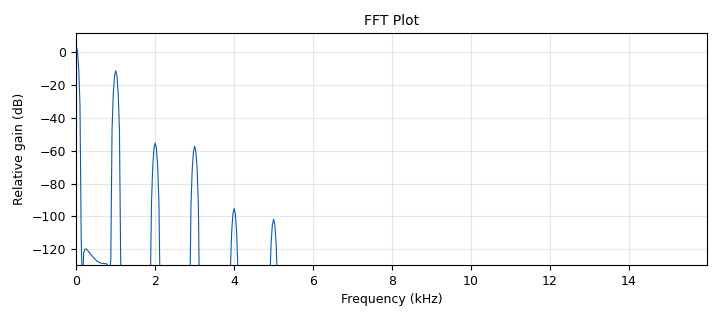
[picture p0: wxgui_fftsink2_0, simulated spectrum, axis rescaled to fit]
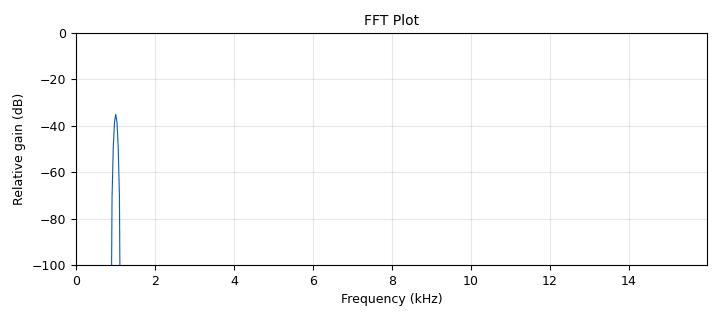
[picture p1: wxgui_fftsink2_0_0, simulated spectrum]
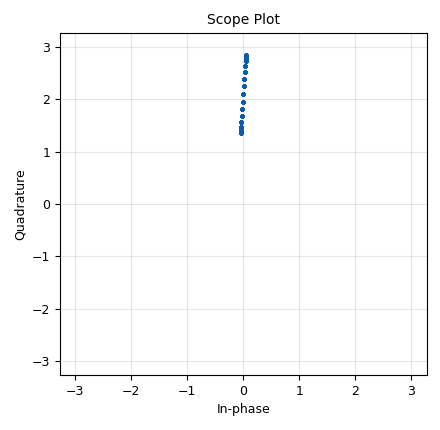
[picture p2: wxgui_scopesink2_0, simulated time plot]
<?xml version='1.0' encoding='utf-8'?>
<?grc format='1' created='3.7.9'?>
<flow_graph>
<block>
<key>options</key>
<param><key>id</key><value>top_block</value></param>
<param><key>category</key><value>Custom</value></param>
<param><key>generate_options</key><value>wx_gui</value></param>
</block>
<block>
<key>variable_slider</key>
<param><key>id</key><value>inp_amp</value></param>
<param><key>converver</key><value>float_converter</value></param>
<param><key>value</key><value>.05</value></param>
<param><key>label</key><value></value></param>
<param><key>max</key><value>1</value></param>
<param><key>min</key><value>0</value></param>
<param><key>num_steps</key><value>1000</value></param>
<param><key>style</key><value>wx.SL_HORIZONTAL</value></param>
</block>
<block>
<key>variable</key>
<param><key>id</key><value>samp_rate</value></param>
<param><key>value</key><value>32000</value></param>
</block>
<block>
<key>analog_sig_source_x</key>
<param><key>id</key><value>analog_sig_source_x_0</value></param>
<param><key>amp</key><value>inp_amp</value></param>
<param><key>freq</key><value>1000</value></param>
<param><key>offset</key><value>0</value></param>
<param><key>type</key><value>float</value></param>
<param><key>samp_rate</key><value>samp_rate</value></param>
<param><key>waveform</key><value>analog.GR_COS_WAVE</value></param>
</block>
<block>
<key>blocks_add_const_vxx</key>
<param><key>id</key><value>blocks_add_const_vxx_0</value></param>
<param><key>const</key><value>-1</value></param>
<param><key>type</key><value>float</value></param>
</block>
<block>
<key>blocks_add_const_vxx</key>
<param><key>id</key><value>blocks_add_const_vxx_1</value></param>
<param><key>const</key><value>0.9</value></param>
<param><key>type</key><value>float</value></param>
</block>
<block>
<key>blocks_divide_xx</key>
<param><key>id</key><value>blocks_divide_xx_0</value></param>
<param><key>type</key><value>float</value></param>
</block>
<block>
<key>blocks_multiply_const_vxx</key>
<param><key>id</key><value>blocks_multiply_const_vxx_0</value></param>
<param><key>const</key><value>10</value></param>
<param><key>type</key><value>float</value></param>
</block>
<block>
<key>blocks_multiply_const_vxx</key>
<param><key>id</key><value>blocks_multiply_const_vxx_1</value></param>
<param><key>const</key><value>5</value></param>
<param><key>type</key><value>float</value></param>
</block>
<block>
<key>blocks_throttle</key>
<param><key>id</key><value>blocks_throttle_0</value></param>
<param><key>samples_per_second</key><value>samp_rate</value></param>
<param><key>type</key><value>float</value></param>
</block>
<block>
<key>blocks_transcendental</key>
<param><key>id</key><value>blocks_transcendental_0</value></param>
<param><key>name</key><value>exp</value></param>
<param><key>type</key><value>float</value></param>
</block>
<block>
<key>notebook</key>
<param><key>id</key><value>notebook_0</value></param>
<param><key>labels</key><value>['inp_out', 'outp_fft','inp_fft']</value></param>
<param><key>style</key><value>wx.NB_TOP</value></param>
</block>
<block>
<key>wxgui_fftsink2</key>
<param><key>id</key><value>wxgui_fftsink2_0</value></param>
<param><key>avg_alpha</key><value>0</value></param>
<param><key>average</key><value>False</value></param>
<param><key>baseband_freq</key><value>0</value></param>
<param><key>fft_size</key><value>1024</value></param>
<param><key>freqvar</key><value>None</value></param>
<param><key>notebook</key><value>notebook_0,1</value></param>
<param><key>peak_hold</key><value>False</value></param>
<param><key>ref_level</key><value>0</value></param>
<param><key>ref_scale</key><value>2.0</value></param>
<param><key>fft_rate</key><value>15</value></param>
<param><key>samp_rate</key><value>samp_rate</value></param>
<param><key>title</key><value>FFT Plot</value></param>
<param><key>type</key><value>float</value></param>
<param><key>win</key><value>None</value></param>
<param><key>y_divs</key><value>10</value></param>
<param><key>y_per_div</key><value>10</value></param>
</block>
<block>
<key>wxgui_fftsink2</key>
<param><key>id</key><value>wxgui_fftsink2_0_0</value></param>
<param><key>avg_alpha</key><value>0</value></param>
<param><key>average</key><value>False</value></param>
<param><key>baseband_freq</key><value>0</value></param>
<param><key>fft_size</key><value>1024</value></param>
<param><key>freqvar</key><value>None</value></param>
<param><key>notebook</key><value>notebook_0,2</value></param>
<param><key>peak_hold</key><value>False</value></param>
<param><key>ref_level</key><value>0</value></param>
<param><key>ref_scale</key><value>2.0</value></param>
<param><key>fft_rate</key><value>15</value></param>
<param><key>samp_rate</key><value>samp_rate</value></param>
<param><key>title</key><value>FFT Plot</value></param>
<param><key>type</key><value>float</value></param>
<param><key>win</key><value>None</value></param>
<param><key>y_divs</key><value>10</value></param>
<param><key>y_per_div</key><value>10</value></param>
</block>
<block>
<key>wxgui_scopesink2</key>
<param><key>id</key><value>wxgui_scopesink2_0</value></param>
<param><key>ac_couple</key><value>False</value></param>
<param><key>notebook</key><value>notebook_0,0</value></param>
<param><key>num_inputs</key><value>2</value></param>
<param><key>samp_rate</key><value>samp_rate</value></param>
<param><key>t_scale</key><value>0</value></param>
<param><key>title</key><value>Scope Plot</value></param>
<param><key>trig_mode</key><value>wxgui.TRIG_MODE_AUTO</value></param>
<param><key>type</key><value>float</value></param>
<param><key>v_offset</key><value>0</value></param>
<param><key>v_scale</key><value>0</value></param>
<param><key>xy_mode</key><value>True</value></param>
<param><key>y_axis_label</key><value>Counts</value></param>
</block>
<connection><source_block_id>analog_sig_source_x_0</source_block_id><sink_block_id>blocks_throttle_0</sink_block_id><source_key>0</source_key><sink_key>0</sink_key></connection>
<connection><source_block_id>analog_sig_source_x_0</source_block_id><sink_block_id>wxgui_fftsink2_0_0</sink_block_id><source_key>0</source_key><sink_key>0</sink_key></connection>
<connection><source_block_id>blocks_add_const_vxx_0</source_block_id><sink_block_id>blocks_divide_xx_0</sink_block_id><source_key>0</source_key><sink_key>0</sink_key></connection>
<connection><source_block_id>blocks_add_const_vxx_1</source_block_id><sink_block_id>blocks_divide_xx_0</sink_block_id><source_key>0</source_key><sink_key>1</sink_key></connection>
<connection><source_block_id>blocks_divide_xx_0</source_block_id><sink_block_id>wxgui_fftsink2_0</sink_block_id><source_key>0</source_key><sink_key>0</sink_key></connection>
<connection><source_block_id>blocks_divide_xx_0</source_block_id><sink_block_id>wxgui_scopesink2_0</sink_block_id><source_key>0</source_key><sink_key>1</sink_key></connection>
<connection><source_block_id>blocks_multiply_const_vxx_0</source_block_id><sink_block_id>blocks_transcendental_0</sink_block_id><source_key>0</source_key><sink_key>0</sink_key></connection>
<connection><source_block_id>blocks_multiply_const_vxx_1</source_block_id><sink_block_id>blocks_add_const_vxx_0</sink_block_id><source_key>0</source_key><sink_key>0</sink_key></connection>
<connection><source_block_id>blocks_throttle_0</source_block_id><sink_block_id>blocks_multiply_const_vxx_0</sink_block_id><source_key>0</source_key><sink_key>0</sink_key></connection>
<connection><source_block_id>blocks_throttle_0</source_block_id><sink_block_id>wxgui_scopesink2_0</sink_block_id><source_key>0</source_key><sink_key>0</sink_key></connection>
<connection><source_block_id>blocks_transcendental_0</source_block_id><sink_block_id>blocks_add_const_vxx_1</sink_block_id><source_key>0</source_key><sink_key>0</sink_key></connection>
<connection><source_block_id>blocks_transcendental_0</source_block_id><sink_block_id>blocks_multiply_const_vxx_1</sink_block_id><source_key>0</source_key><sink_key>0</sink_key></connection>
</flow_graph>
